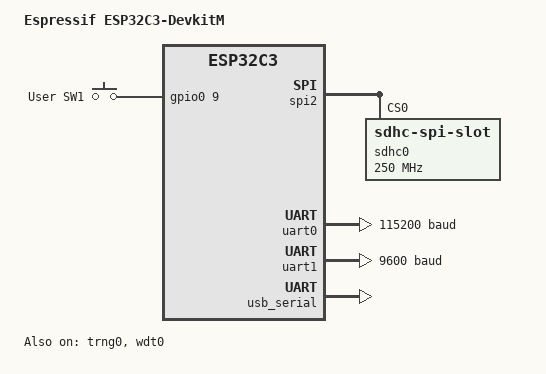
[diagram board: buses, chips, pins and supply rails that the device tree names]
/*
 * Copyright (c) 2021 Espressif Systems (Shanghai) Co., Ltd.
 *
 * SPDX-License-Identifier: Apache-2.0
 */

/dts-v1/;

#include <espressif/esp32c3/esp32c3_mini_n4.dtsi>
#include "esp32c3_devkitm-pinctrl.dtsi"
#include <zephyr/dt-bindings/input/input-event-codes.h>
#include <espressif/partitions_0x0_default.dtsi>

/ {
	model = "Espressif ESP32C3-DevkitM";
	compatible = "espressif,esp32c3";

	chosen {
		zephyr,sram = &sram1;
		zephyr,console = &uart0;
		zephyr,shell-uart = &uart0;
		zephyr,flash = &flash0;
		zephyr,code-partition = &slot0_partition;
		zephyr,bt-hci = &esp32_bt_hci;
		zephyr,gps = &uart1;
	};

	aliases {
		sw0 = &user_button1;
		i2c-0 = &i2c0;
		watchdog0 = &wdt0;
        led-strip = &led_strip;
	};

	gpio_keys {
		compatible = "gpio-keys";
		user_button1: button_1 {
			label = "User SW1";
			gpios = <&gpio0 9 (GPIO_PULL_UP | GPIO_ACTIVE_HIGH)>;
			zephyr,code = <INPUT_KEY_0>;
		};
	};

	gpioled {
        led_strip: rbgled0 {
		    compatible = "worldsemi,ws2812";
		    label = "rbg";
            gpios = <&gpio0 8 (GPIO_PULL_UP | GPIO_ACTIVE_HIGH)>;
            chain-length = <2>;
        };
	};
};

&spi2 {
        status = "okay";
        sdhc0: sdhc@0 {
                compatible = "zephyr,sdhc-spi-slot";
        		status = "okay";
				reg = <0>;
                mmc {
                    compatible = "zephyr,sdmmc-disk";
                    disk-name = "SD";
                    status = "okay";
                };
                spi-max-frequency = <250000000>;
        };
		#address-cells = <1>;
		#size-cells = <0>;
		pinctrl-0 = <&spim2_default>;
    	pinctrl-names = "default";
};

&uart0 {
	status = "okay";
	current-speed = <115200>;
	pinctrl-0 = <&uart0_default>;
	pinctrl-names = "default";
};

&uart1 {
	status = "okay";
	current-speed = <9600>;
	pinctrl-0 = <&uart1_default>;
	pinctrl-names = "default";
};

&usb_serial {
	/* requires resoldering of resistors on the board */
	status = "okay";
};

&i2c0 {
	status = "disabled";
	clock-frequency = <I2C_BITRATE_STANDARD>;
	pinctrl-0 = <&i2c0_default>;
	pinctrl-names = "default";
};

&i2s {
	pinctrl-0 = <&i2s_default>;
	pinctrl-names = "default";
	status = "disabled";
};

&trng0 {
	status = "okay";
};

&gpio0 {
	status = "okay";
};

&wdt0 {
	status = "okay";
};

&timer0 {
	status = "disabled";
};

&timer1 {
	status = "disabled";
};

&twai {
	/* requires external CAN transceiver or jumper on RX and TX pins for loopback testing */
	status = "disabled";
	pinctrl-0 = <&twai_default>;
	pinctrl-names = "default";
};

&esp32_bt_hci {
	status = "disabled";
};

&wifi {
	status = "disabled";
};
